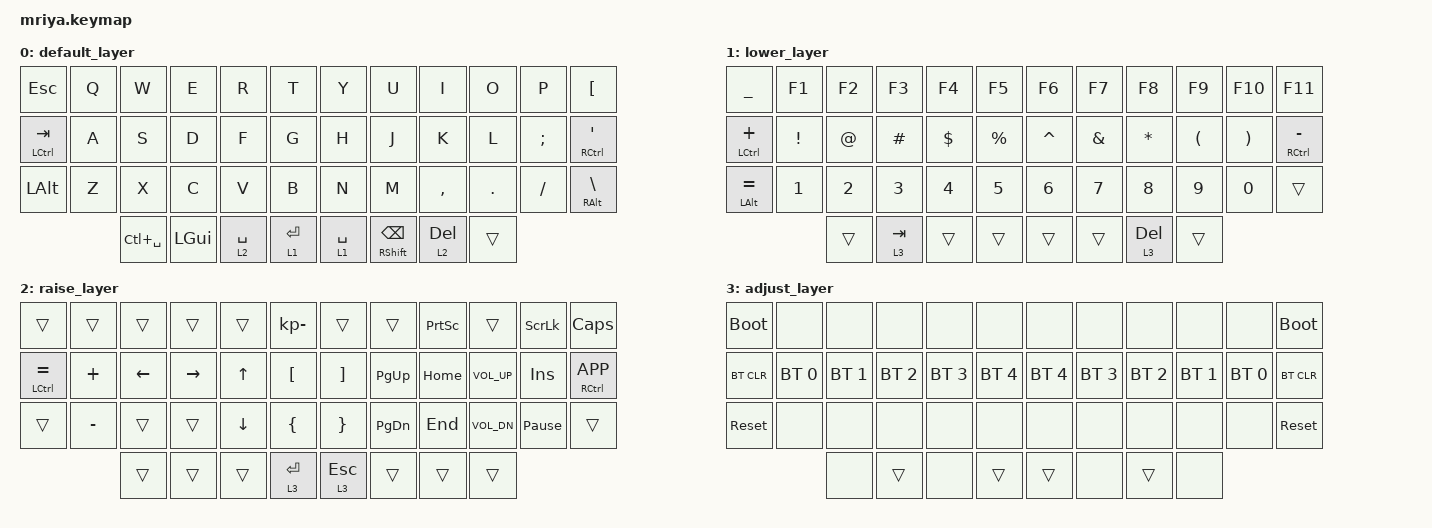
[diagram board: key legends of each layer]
/*
 * Copyright (c) 2023 Andrei Gaevskii
 *
 * SPDX-License-Identifier: MIT
 */

#include <behaviors.dtsi>
#include <dt-bindings/zmk/bt.h>
#include <dt-bindings/zmk/keys.h>

#define DEF 0
#define LWR 1
#define RSE 2
#define ADJ 3

&lt { quick_tap_ms = <200>; };

&mt { quick_tap_ms = <200>; };

/ {
    keymap {
        compatible = "zmk,keymap";

        default_layer {
            bindings = <
  &kp ESC        &kp Q  &kp W          &kp E     &kp R        &kp T        &kp Y        &kp U           &kp I      &kp O    &kp P     &kp LBKT
  &mt LCTRL TAB  &kp A  &kp S          &kp D     &kp F        &kp G        &kp H        &kp J           &kp K      &kp L    &kp SEMI  &mt RCTRL SQT
  &kp LALT       &kp Z  &kp X          &kp C     &kp V        &kp B        &kp N        &kp M           &kp COMMA  &kp DOT  &kp FSLH  &mt RALT BSLH
                        &kp LC(SPACE)  &kp LGUI  &lt 2 SPACE  &lt 1 RET    &lt 1 SPACE  &mt RSHFT BSPC  &lt 2 DEL  &trans
            >;
        };

        lower_layer {
            bindings = <
  &kp UNDER       &kp F1    &kp F2  &kp F3     &kp F4    &kp F5       &kp F6     &kp F7    &kp F8     &kp F9    &kp F10   &kp F11
  &mt LCTRL PLUS  &kp EXCL  &kp AT  &kp HASH   &kp DLLR  &kp PRCNT    &kp CARET  &kp AMPS  &kp STAR   &kp LPAR  &kp RPAR  &mt RCTRL MINUS
  &mt LALT EQUAL  &kp N1    &kp N2  &kp N3     &kp N4    &kp N5       &kp N6     &kp N7    &kp N8     &kp N9    &kp N0    &trans
                            &trans  &lt 3 TAB  &trans    &trans       &trans     &trans    &lt 3 DEL  &trans
            >;
        };

        raise_layer {
            bindings = <
  &trans           &trans     &trans    &trans     &trans    &kp KP_MINUS    &trans     &trans         &kp PSCRN  &trans        &kp SLCK         &kp CAPS
  &mt LCTRL EQUAL  &kp PLUS   &kp LEFT  &kp RIGHT  &kp UP    &kp LBKT        &kp RBKT   &kp PAGE_UP    &kp HOME   &kp C_VOL_UP  &kp INS          &mt RCTRL K_APP
  &trans           &kp MINUS  &trans    &trans     &kp DOWN  &kp LBRC        &kp RBRC   &kp PAGE_DOWN  &kp END    &kp C_VOL_DN  &kp PAUSE_BREAK  &trans
                              &trans    &trans     &trans    &lt 3 RET       &lt 3 ESC  &trans         &trans     &trans
            >;
        };

        adjust_layer {
            bindings = <
  &bootloader  &none         &none         &none         &none         &none           &none         &none         &none         &none         &none         &bootloader
  &bt BT_CLR   &bt BT_SEL 0  &bt BT_SEL 1  &bt BT_SEL 2  &bt BT_SEL 3  &bt BT_SEL 4    &bt BT_SEL 4  &bt BT_SEL 3  &bt BT_SEL 2  &bt BT_SEL 1  &bt BT_SEL 0  &bt BT_CLR
  &sys_reset   &none         &none         &none         &none         &none           &none         &none         &none         &none         &none         &sys_reset
                             &none         &trans        &none         &trans          &trans        &none         &trans        &none
            >;
        };
    };
};
